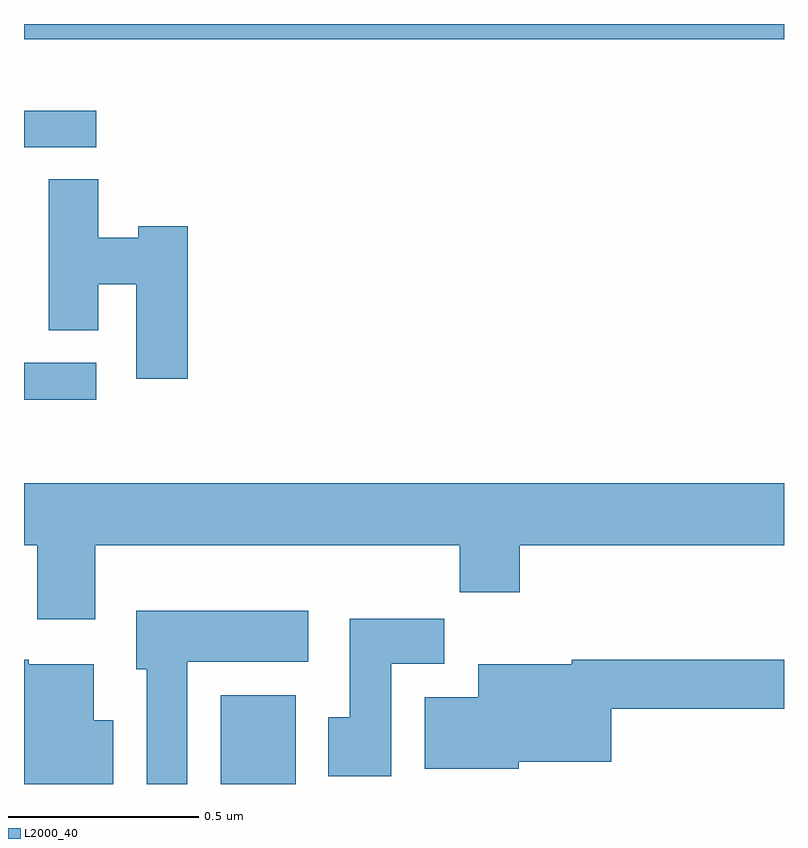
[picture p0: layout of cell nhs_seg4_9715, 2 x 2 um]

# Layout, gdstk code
import gdstk
lib = gdstk.Library(unit=1e-6, precision=1e-09)
def R(c, l, rs):  # rectangles x0, y0, x1, y1
    for r in rs: c.add(gdstk.rectangle(r[:2], r[2:], *l))
def P(c, l, *ps):  # polygons
    for p in ps: c.add(gdstk.Polygon(p, *l))
L2000_40 = (2000, 40)

nhs_seg4_9715 = lib.new_cell('nhs_seg4_9715')
R(nhs_seg4_9715, L2000_40, [(231.518,754.9,231.715,755.134), (231,755.911,231.19,756.009), (231,756.576,231.19,756.672), (231,756.86,233,756.9)])
P(nhs_seg4_9715, L2000_40, [(231.431,756.368),(231.3,756.368),(231.3,756.337),(231.196,756.337),(231.196,756.491),(231.065,756.491),(231.065,756.094),(231.196,756.094),(231.196,756.215),(231.296,756.215),(231.296,755.967),(231.431,755.967)],
  [(231.187,755.528),(232.147,755.528),(232.147,755.404),(232.304,755.404),(232.304,755.528),(233,755.528),(233,755.692),(231,755.692),(231,755.528),(231.035,755.528),(231.035,755.334),(231.187,755.334)],
  [(231.43,755.222),(231.748,755.222),(231.748,755.356),(231.296,755.356),(231.296,755.202),(231.323,755.202),(231.323,754.9),(231.43,754.9)],
  [(231.967,755.216),(232.106,755.216),(232.106,755.335),(231.857,755.335),(231.857,755.076),(231.8,755.076),(231.8,754.92),(231.967,754.92)],
  [(232.302,754.958),(232.546,754.958),(232.546,755.098),(233,755.098),(233,755.227),(232.442,755.227),(232.442,755.215),(232.196,755.215),(232.196,755.128),(232.055,755.128),(232.055,754.94),(232.302,754.94)],
  [(231.235,755.068),(231.184,755.068),(231.184,755.215),(231.012,755.215),(231.012,755.227),(231,755.227),(231,754.9),(231.235,754.9)])

lib.write_gds('nhs_seg4_9715.gds')
